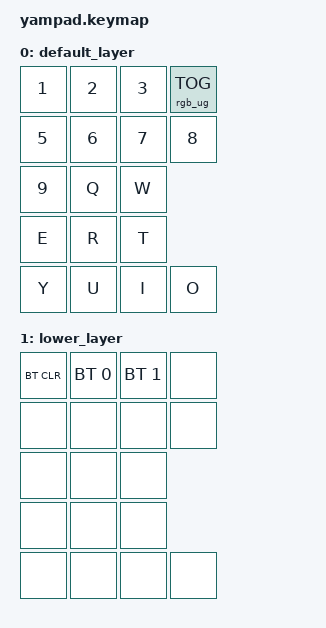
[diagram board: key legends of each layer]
#include <behaviors.dtsi>
#include <dt-bindings/zmk/keys.h>
#include <dt-bindings/zmk/bt.h>
#include <dt-bindings/zmk/rgb.h>

/ {
        keymap {
                compatible = "zmk,keymap";

                default_layer {
                      bindings = <
                       &kp N1       &kp N2       &kp N3       &rgb_ug RGB_TOG
                       &kp N5       &kp N6       &kp N7       &kp N8 
                       &kp N9       &kp Q        &kp W 
                       &kp E        &kp R        &kp T
                       &kp Y        &kp U        &kp I        &kp O 

                                            >;
                              };

                lower_layer {
                      bindings = <
                          &bt BT_CLR       &bt BT_SEL 0     &bt BT_SEL 1       &none
                          &none            &none            &none              &none
                          &none            &none            &none
                          &none            &none            &none
                          &none            &none            &none              &none

                                                                          >;
                              };
};
};
